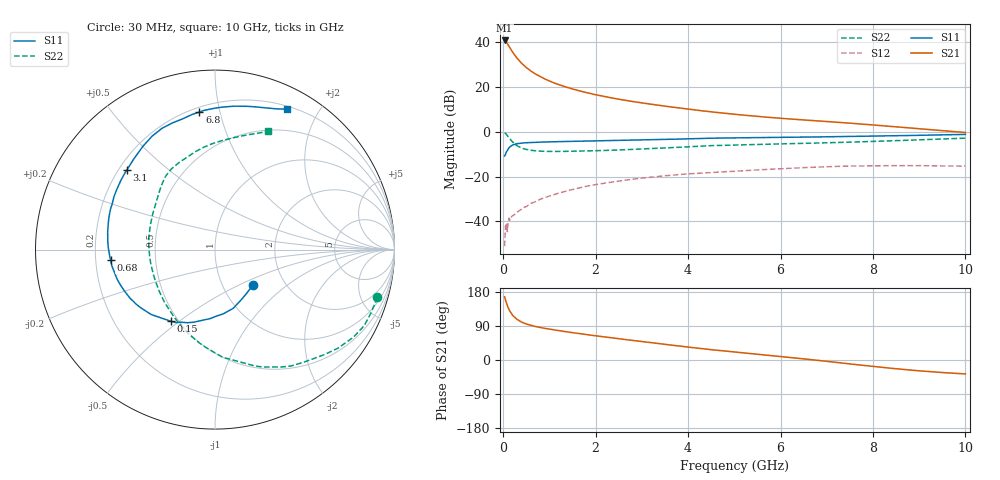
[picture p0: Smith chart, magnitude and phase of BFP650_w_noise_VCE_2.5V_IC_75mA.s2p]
! Infineon Technologies  Discrete & RF Semiconductors
! BFP650
! VCE =  2.5 V,  IC =  75 mA
! Common Emitter S-Parameters:  Jan 2016
# GHz  S  MA  R  50
!  f  S11  S21  S12  S22
! GHz  MAG  ANG  MAG  ANG  MAG  ANG  MAG  ANG
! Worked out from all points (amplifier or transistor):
!   229 points, 30 MHz to 10 GHz, reference 50 ohm
!   highest |S21| = 40.8 dB at 30 MHz (marker M1)
!   |S21| within 3 dB of that: start of sweep to 136.4 MHz
!   unconditionally stable (mu >= 1): 1.491 GHz to end of sweep
!   at 280 MHz: K = 0.58, MSG = 34.8 dB, |S12| = -36.2 dB
!   at 1.78 GHz: K = 1.01, MAG = 20.4 dB, |S12| = -24.4 dB
!   at 10 GHz: K = 1.03, MAG = 6.5 dB, |S12| = -15.3 dB
!   lowest NFmin = 1.21 dB at 450 MHz
!   S11 on the Smith chart (normalised r, x): 30 MHz: 1.38, -0.60; 150 MHz: 0.46, -0.47; 680 MHz: 0.26, -0.05; 3.1 GHz: 0.23, +0.37; 6.8 GHz: 0.23, +0.87; 10 GHz: 0.24, +1.61
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0.03  0.2893 -43.5  110.3 166.7  0.0028 49.0  0.9433 -16.4
0.04  0.301 -54.3  109 162.1  0.0049 70.5  0.9379 -22.1
0.05  0.3174 -63.3  105.7 157.6  0.0079 93.2  0.9332 -27.0
0.06  0.3423 -72.7  104 154.0  0.0065 88.7  0.9123 -32.4
0.08  0.3721 -89.5  97.19 146.4  0.0074 62.8  0.8487 -43.2
0.11  0.4212 -106.2  86.88 137.0  0.0103 60.3  0.7749 -56.8
0.15  0.4689 -121.5  73.99 127.4  0.0118 64.1  0.6845 -71.2
0.2  0.5074 -134.6  61.24 118.3  0.0133 56.5  0.6009 -86.0
0.24  0.5256 -142.0  53.4 113.3  0.0141 58.4  0.5484 -95.2
0.3  0.5456 -150.4  44.13 107.0  0.0161 58.0  0.4926 -107.4
0.36  0.5565 -156.4  37.45 102.5  0.0178 56.9  0.4543 -116.8
0.45  0.5698 -163.2  30.31 97.3  0.0206 57.6  0.4176 -128.5
0.68  0.585 -174.3  20.2 89.0  0.0272 59.1  0.3791 -149.0
0.9  0.5951 178.7  15.18 83.5  0.034 59.2  0.3674 -162.1
1.1  0.6011 173.5  12.4 79.5  0.0397 59.0  0.3662 -171.0
1.7  0.6203 161.0  8 68.9  0.058 55.1  0.3736 170.6
3.1  0.6617 138.0  4.293 47.3  0.0952 41.0  0.4175 142.5
3.4  0.673 133.5  3.882 42.8  0.1023 37.6  0.4321 137.9
5.1  0.7386 112.5  2.421 20.0  0.1345 20.3  0.5132 117.2
6.8  0.7714 96.5  1.765 -0.8  0.1637 3.0  0.5648 98.7
8.4  0.8185 77.2  1.322 -21.9  0.1758 -14.8  0.6322 80.6
10  0.8783 62.9  0.969 -36.7  0.1714 -27.4  0.7242 65.9
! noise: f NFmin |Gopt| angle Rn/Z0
0.45  1.21  0.5  -171  0.06
0.9  1.23  0.51  -165  0.06
1.9  1.36  0.53  -151  0.08
2.4  1.44  0.52  -141  0.1
3.5  1.65  0.54  -118  0.18
